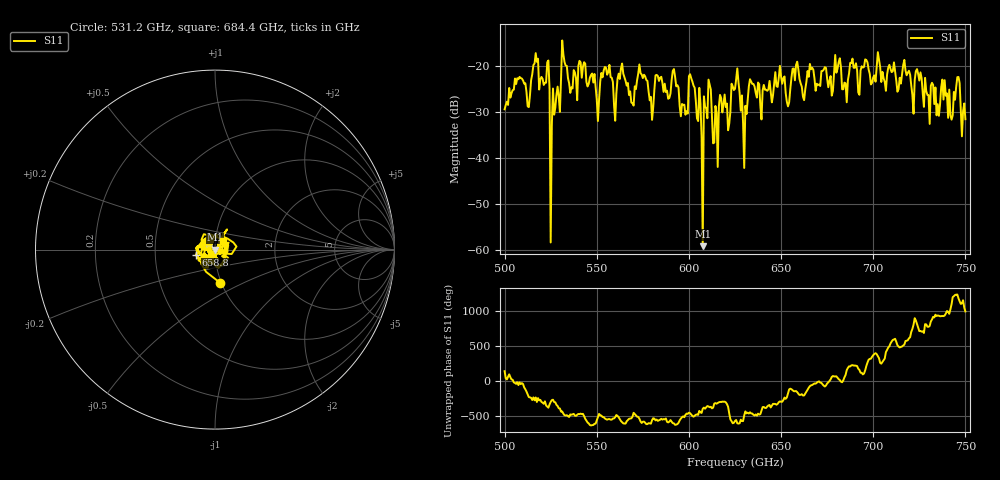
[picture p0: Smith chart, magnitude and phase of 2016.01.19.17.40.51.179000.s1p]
!Created with skrf (http://scikit-rf.org).
# GHz S RI R 50.0
!freq ReS11 ImS11
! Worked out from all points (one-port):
!   401 points, 500 GHz to 750 GHz, reference 50 ohm
!   lowest |S11| = -59.2 dB at 607.5 GHz (marker M1), VSWR 1.00, Z = 50.1 - j0.073 ohm
!   |S11| at or under -10 dB: start of sweep to end of sweep
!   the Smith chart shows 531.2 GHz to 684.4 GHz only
!   S11 on the Smith chart (normalised r, x): 531.2 GHz: 0.99, -0.38; 658.8 GHz: 0.81, -0.05; 684.4 GHz: 1.09, +0.10
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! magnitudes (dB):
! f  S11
! 500 GHz  -29.5
! 513.1 GHz  -29.0
! 516.9 GHz  -17.2
! 523.1 GHz  -19.3
! 526.2 GHz  -24.9
! 531.2 GHz  -14.5
! 550.6 GHz  -32.0
! 562.5 GHz  -22.9
! 568.8 GHz  -28.0
! 573.8 GHz  -21.6
! 579.4 GHz  -26.8
! 593.8 GHz  -24.2
! 598.1 GHz  -30.6
! 601.2 GHz  -22.7
! 607.5 GHz  -59.2
! 610.6 GHz  -23.0
! 614.4 GHz  -28.7
! 625 GHz  -25.0
! 630.6 GHz  -28.7
! 633.8 GHz  -23.4
! 656.2 GHz  -20.6
! 658.8 GHz  -19.1
! 684.4 GHz  -23.7
! 687.5 GHz  -19.4
! 718.8 GHz  -21.5
! 741.9 GHz  -30.8
! 745.6 GHz  -22.5
! 750 GHz  -31.6
